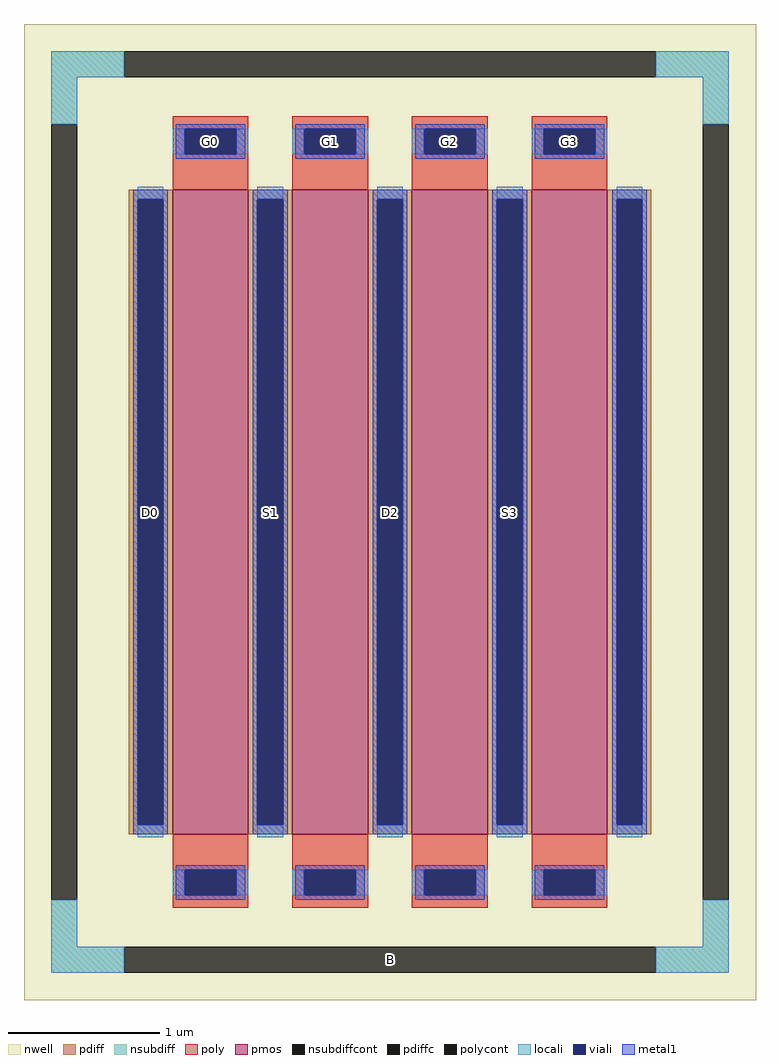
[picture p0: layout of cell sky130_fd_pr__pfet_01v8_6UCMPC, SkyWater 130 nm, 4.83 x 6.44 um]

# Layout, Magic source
magic
tech sky130A
magscale 1 2
<< nwell >>
rect -483 -644 483 644
<< pmos >>
rect -287 -425 -187 425
rect -129 -425 -29 425
rect 29 -425 129 425
rect 187 -425 287 425
<< pdiff >>
rect -345 413 -287 425
rect -345 -413 -333 413
rect -299 -413 -287 413
rect -345 -425 -287 -413
rect -187 413 -129 425
rect -187 -413 -175 413
rect -141 -413 -129 413
rect -187 -425 -129 -413
rect -29 413 29 425
rect -29 -413 -17 413
rect 17 -413 29 413
rect -29 -425 29 -413
rect 129 413 187 425
rect 129 -413 141 413
rect 175 -413 187 413
rect 129 -425 187 -413
rect 287 413 345 425
rect 287 -413 299 413
rect 333 -413 345 413
rect 287 -425 345 -413
<< pdiffc >>
rect -333 -413 -299 413
rect -175 -413 -141 413
rect -17 -413 17 413
rect 141 -413 175 413
rect 299 -413 333 413
<< nsubdiff >>
rect -447 574 -351 608
rect 351 574 447 608
rect -447 512 -413 574
rect 413 512 447 574
rect -447 -574 -413 -512
rect 413 -574 447 -512
rect -447 -608 -351 -574
rect 351 -608 447 -574
<< nsubdiffcont >>
rect -351 574 351 608
rect -447 -512 -413 512
rect 413 -512 447 512
rect -351 -608 351 -574
<< poly >>
rect -287 506 -187 522
rect -287 472 -271 506
rect -203 472 -187 506
rect -287 425 -187 472
rect -129 506 -29 522
rect -129 472 -113 506
rect -45 472 -29 506
rect -129 425 -29 472
rect 29 506 129 522
rect 29 472 45 506
rect 113 472 129 506
rect 29 425 129 472
rect 187 506 287 522
rect 187 472 203 506
rect 271 472 287 506
rect 187 425 287 472
rect -287 -472 -187 -425
rect -287 -506 -271 -472
rect -203 -506 -187 -472
rect -287 -522 -187 -506
rect -129 -472 -29 -425
rect -129 -506 -113 -472
rect -45 -506 -29 -472
rect -129 -522 -29 -506
rect 29 -472 129 -425
rect 29 -506 45 -472
rect 113 -506 129 -472
rect 29 -522 129 -506
rect 187 -472 287 -425
rect 187 -506 203 -472
rect 271 -506 287 -472
rect 187 -522 287 -506
<< polycont >>
rect -271 472 -203 506
rect -113 472 -45 506
rect 45 472 113 506
rect 203 472 271 506
rect -271 -506 -203 -472
rect -113 -506 -45 -472
rect 45 -506 113 -472
rect 203 -506 271 -472
<< locali >>
rect -447 574 -351 608
rect 351 574 447 608
rect -447 512 -413 574
rect 413 512 447 574
rect -287 472 -271 506
rect -203 472 -187 506
rect -129 472 -113 506
rect -45 472 -29 506
rect 29 472 45 506
rect 113 472 129 506
rect 187 472 203 506
rect 271 472 287 506
rect -333 413 -299 429
rect -333 -429 -299 -413
rect -175 413 -141 429
rect -175 -429 -141 -413
rect -17 413 17 429
rect -17 -429 17 -413
rect 141 413 175 429
rect 141 -429 175 -413
rect 299 413 333 429
rect 299 -429 333 -413
rect -287 -506 -271 -472
rect -203 -506 -187 -472
rect -129 -506 -113 -472
rect -45 -506 -29 -472
rect 29 -506 45 -472
rect 113 -506 129 -472
rect 187 -506 203 -472
rect 271 -506 287 -472
rect -447 -574 -413 -512
rect 413 -574 447 -512
rect -447 -608 -351 -574
rect 351 -608 447 -574
<< viali >>
rect -271 472 -203 506
rect -113 472 -45 506
rect 45 472 113 506
rect 203 472 271 506
rect -333 -413 -299 413
rect -175 -413 -141 413
rect -17 -413 17 413
rect 141 -413 175 413
rect 299 -413 333 413
rect -271 -506 -203 -472
rect -113 -506 -45 -472
rect 45 -506 113 -472
rect 203 -506 271 -472
<< metal1 >>
rect -283 506 -191 512
rect -283 472 -271 506
rect -203 472 -191 506
rect -283 466 -191 472
rect -125 506 -33 512
rect -125 472 -113 506
rect -45 472 -33 506
rect -125 466 -33 472
rect 33 506 125 512
rect 33 472 45 506
rect 113 472 125 506
rect 33 466 125 472
rect 191 506 283 512
rect 191 472 203 506
rect 271 472 283 506
rect 191 466 283 472
rect -339 413 -293 425
rect -339 -413 -333 413
rect -299 -413 -293 413
rect -339 -425 -293 -413
rect -181 413 -135 425
rect -181 -413 -175 413
rect -141 -413 -135 413
rect -181 -425 -135 -413
rect -23 413 23 425
rect -23 -413 -17 413
rect 17 -413 23 413
rect -23 -425 23 -413
rect 135 413 181 425
rect 135 -413 141 413
rect 175 -413 181 413
rect 135 -425 181 -413
rect 293 413 339 425
rect 293 -413 299 413
rect 333 -413 339 413
rect 293 -425 339 -413
rect -283 -472 -191 -466
rect -283 -506 -271 -472
rect -203 -506 -191 -472
rect -283 -512 -191 -506
rect -125 -472 -33 -466
rect -125 -506 -113 -472
rect -45 -506 -33 -472
rect -125 -512 -33 -506
rect 33 -472 125 -466
rect 33 -506 45 -472
rect 113 -506 125 -472
rect 33 -512 125 -506
rect 191 -472 283 -466
rect 191 -506 203 -472
rect 271 -506 283 -472
rect 191 -512 283 -506
<< labels >>
rlabel nsubdiffcont 0 -591 0 -591 0 B
port 1 nsew
rlabel pdiffc -316 0 -316 0 0 D0
port 2 nsew
rlabel polycont -237 489 -237 489 0 G0
port 3 nsew
rlabel pdiffc -158 0 -158 0 0 S1
port 4 nsew
rlabel polycont -79 489 -79 489 0 G1
port 5 nsew
rlabel pdiffc 0 0 0 0 0 D2
port 6 nsew
rlabel polycont 79 489 79 489 0 G2
port 7 nsew
rlabel pdiffc 158 0 158 0 0 S3
port 8 nsew
rlabel polycont 237 489 237 489 0 G3
port 9 nsew
<< properties >>
string FIXED_BBOX -430 -591 430 591
string gencell sky130_fd_pr__pfet_01v8
string library sky130
string parameters w 4.25 l 0.5 m 1 nf 4 diffcov 100 polycov 100 guard 1 glc 1 grc 1 gtc 1 gbc 1 tbcov 100 rlcov 100 topc 1 botc 1 poverlap 0 doverlap 1 lmin 0.15 wmin 0.42 class mosfet compatible {sky130_fd_pr__pfet_01v8  sky130_fd_pr__pfet_01v8_lvt sky130_fd_pr__pfet_01v8_hvt  sky130_fd_pr__pfet_g5v0d10v5} full_metal 1 conn_gates 0 viasrc 100 viadrn 100 viagate 100 viagb 0 viagr 0 viagl 0 viagt 0 doports 1
<< end >>
